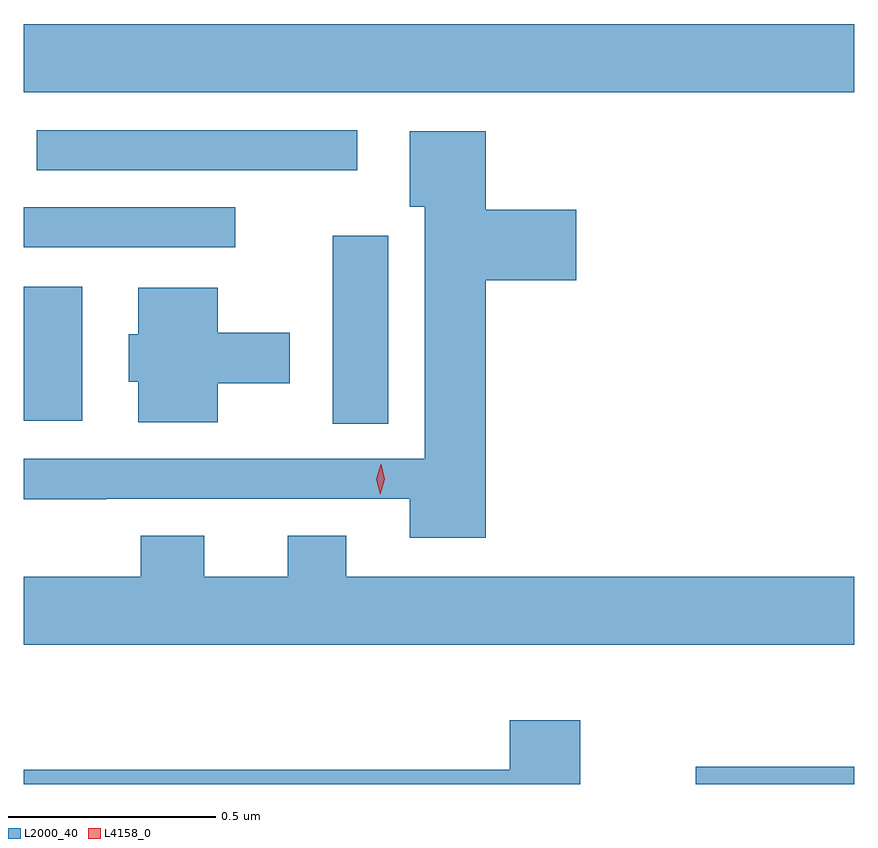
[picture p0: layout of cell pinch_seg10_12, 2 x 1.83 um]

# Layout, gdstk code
import gdstk
lib = gdstk.Library(unit=1e-6, precision=1e-09)
def R(c, l, rs):  # rectangles x0, y0, x1, y1
    for r in rs: c.add(gdstk.rectangle(r[:2], r[2:], *l))
def P(c, l, *ps):  # polygons
    for p in ps: c.add(gdstk.Polygon(p, *l))
L2000_40 = (2000, 40)
L4158_0 = (4158, 0)

pinch_seg10_12 = lib.new_cell('pinch_seg10_12')
R(pinch_seg10_12, L2000_40, [(1047.786,1249.365,1048.168,1249.407), (1046.912,1250.233,1047.046,1250.686), (1046.168,1250.24,1046.308,1250.563), (1046.168,1250.658,1046.677,1250.754), (1046.199,1250.844,1046.971,1250.94), (1046.168,1251.032,1048.168,1251.196)])
P(pinch_seg10_12, L2000_40, [(1047.281,1250.579),(1047.499,1250.579),(1047.499,1250.749),(1047.281,1250.749),(1047.281,1250.938),(1047.098,1250.938),(1047.098,1250.756),(1047.134,1250.756),(1047.134,1250.148),(1046.168,1250.148),(1046.168,1250.051),(1046.366,1250.051),(1046.366,1250.052),(1047.098,1250.052),(1047.098,1249.958),(1047.281,1249.958)],
  [(1046.635,1250.33),(1046.809,1250.33),(1046.809,1250.452),(1046.635,1250.452),(1046.635,1250.56),(1046.444,1250.56),(1046.444,1250.448),(1046.42,1250.448),(1046.42,1250.334),(1046.444,1250.334),(1046.444,1250.237),(1046.635,1250.237)],
  [(1048.168,1249.864),(1046.944,1249.864),(1046.944,1249.963),(1046.804,1249.963),(1046.804,1249.864),(1046.602,1249.864),(1046.602,1249.963),(1046.45,1249.963),(1046.45,1249.864),(1046.168,1249.864),(1046.168,1249.7),(1048.168,1249.7)],
  [(1047.508,1249.519),(1047.338,1249.519),(1047.338,1249.399),(1046.168,1249.399),(1046.168,1249.365),(1047.508,1249.365)])
P(pinch_seg10_12, L4158_0, [(1047.026,1250.063),(1047.026,1250.063),(1047.017,1250.099),(1047.028,1250.135),(1047.028,1250.135),(1047.029,1250.135),(1047.037,1250.099),(1047.026,1250.063)])

lib.write_gds('pinch_seg10_12.gds')
